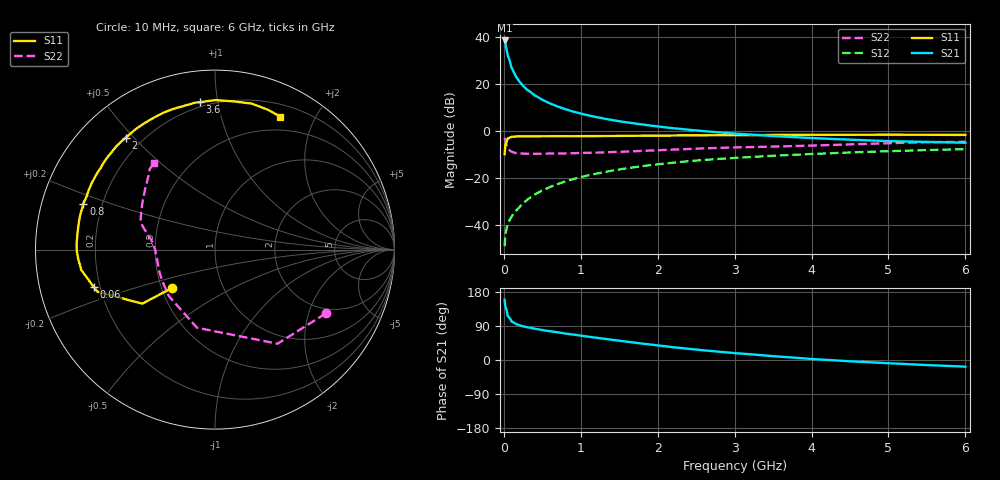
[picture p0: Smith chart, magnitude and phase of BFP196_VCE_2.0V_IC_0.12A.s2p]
! (c) 2017  Infineon Technologies AG, Munich
! Infineon Technologies  Discrete & RF Semiconductors
! BFP196
! VCE =  2.0 V,  IC = 0.12 A
! Common Emitter S-Parameters:  Jan 2017
# GHz  S  MA  R  50
!  f  S11  S21  S12  S22
! GHz  MAG  ANG  MAG  ANG  MAG  ANG  MAG  ANG
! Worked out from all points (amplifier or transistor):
!   77 points, 10 MHz to 6 GHz, reference 50 ohm
!   highest |S21| = 38.6 dB at 10 MHz (marker M1)
!   |S21| within 3 dB of that: start of sweep to 30.53 MHz
!   unconditionally stable (mu >= 1): 222.7 MHz to 3.319 GHz; 5.775 GHz to end of sweep
!   at 130 MHz: K = 0.87, MSG = 30.1 dB, |S12| = -35.1 dB
!   at 2.2 GHz: K = 1.03, MAG = 6.4 dB, |S12| = -13.5 dB
!   at 6 GHz: K = 1.00, MAG = 1.0 dB, |S12| = -7.7 dB
!   S11 on the Smith chart (normalised r, x): 10 MHz: 0.57, -0.27; 60 MHz: 0.18, -0.15; 800 MHz: 0.13, +0.17; 2 GHz: 0.14, +0.47; 3.6 GHz: 0.17, +0.89; 6 GHz: 0.33, +1.56
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0.01  0.3216 -138.2  85.6 158.5  0.0035 71.0  0.712 -30.0
0.02  0.5052 -143.4  72.74 141.6  0.0062 62.7  0.6296 -56.4
0.05  0.6969 -160.4  41.39 115.8  0.0102 54.6  0.4468 -103.0
0.06  0.7061 -162.7  37.48 114.1  0.0111 55.8  0.4209 -108.3
0.1  0.754 -171.4  22.48 101.6  0.0149 59.0  0.3646 -135.2
0.15  0.7642 -176.4  15.22 95.8  0.0193 63.2  0.3418 -149.2
0.2  0.7702 -179.5  11.49 91.8  0.0236 68.7  0.3348 -157.1
0.25  0.7721 177.9  9.207 88.8  0.0289 69.3  0.3297 -162.0
0.3  0.7711 175.9  7.68 86.6  0.0337 69.6  0.3281 -165.9
0.4  0.7719 172.4  5.793 82.5  0.044 71.7  0.3272 -170.5
0.5  0.773 169.1  4.635 79.1  0.0541 71.6  0.328 -173.7
0.6  0.7754 166.1  3.884 75.9  0.064 70.7  0.3313 -176.4
0.8  0.7768 160.7  2.93 69.9  0.0843 69.5  0.3333 180.0
1.1  0.7799 152.3  2.159 61.6  0.114 65.9  0.3433 175.7
1.5  0.7877 141.7  1.618 51.0  0.1512 59.8  0.3604 171.1
2  0.7977 128.6  1.253 38.4  0.195 52.2  0.3888 166.7
2.1  0.7998 126.0  1.2 36.2  0.2029 50.6  0.3955 165.7
3.1  0.8177 104.8  0.863 16.7  0.2727 35.9  0.4514 156.4
3.6  0.8262 95.9  0.768 8.7  0.3018 29.5  0.4702 150.2
4.1  0.8319 88.1  0.698 1.5  0.3288 23.2  0.4951 143.6
5.1  0.8367 74.6  0.605 -9.4  0.3761 11.2  0.5555 131.8
6  0.826 63.8  0.562 -17.5  0.4119 1.2  0.5887 125.4
